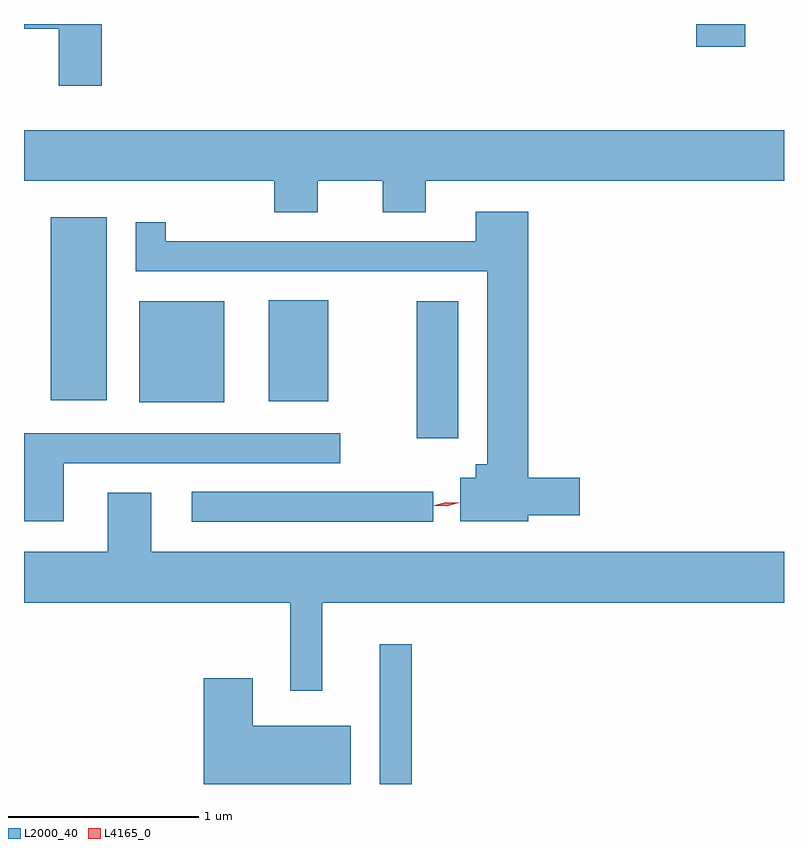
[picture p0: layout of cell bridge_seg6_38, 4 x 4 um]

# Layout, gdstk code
import gdstk
lib = gdstk.Library(unit=1e-6, precision=1e-09)
def R(c, l, rs):  # rectangles x0, y0, x1, y1
    for r in rs: c.add(gdstk.rectangle(r[:2], r[2:], *l))
def P(c, l, *ps):  # polygons
    for p in ps: c.add(gdstk.Polygon(p, *l))
L2000_40 = (2000, 40)
L4165_0 = (4165, 0)

bridge_seg6_38 = lib.new_cell('bridge_seg6_38')
R(bridge_seg6_38, L2000_40, [(1610.721,1622.342,1610.889,1623.078), (1609.733,1623.721,1611.003,1623.879), (1610.916,1624.161,1611.134,1624.884), (1609.456,1624.351,1609.904,1624.884), (1610.136,1624.356,1610.449,1624.889), (1608.991,1624.361,1609.284,1625.324), (1612.386,1626.221,1612.644,1626.342)])
P(bridge_seg6_38, L2000_40, [(1609.259,1626.342),(1608.849,1626.342),(1608.849,1626.316),(1609.031,1626.316),(1609.031,1626.016),(1609.259,1626.016)],
  [(1610.394,1625.516),(1610.736,1625.516),(1610.736,1625.351),(1610.964,1625.351),(1610.964,1625.516),(1612.849,1625.516),(1612.849,1625.784),(1608.849,1625.784),(1608.849,1625.516),(1610.166,1625.516),(1610.166,1625.351),(1610.394,1625.351)],
  [(1611.504,1623.756),(1611.774,1623.756),(1611.774,1623.954),(1611.504,1623.954),(1611.504,1625.354),(1611.226,1625.354),(1611.226,1625.199),(1609.594,1625.199),(1609.594,1625.298),(1609.436,1625.298),(1609.436,1625.041),(1611.286,1625.041),(1611.286,1624.024),(1611.226,1624.024),(1611.226,1623.954),(1611.146,1623.954),(1611.146,1623.726),(1611.504,1623.726)],
  [(1609.059,1624.031),(1610.513,1624.031),(1610.513,1624.189),(1608.849,1624.189),(1608.849,1623.726),(1609.059,1623.726)],
  [(1610.419,1623.296),(1612.849,1623.296),(1612.849,1623.564),(1609.519,1623.564),(1609.519,1623.874),(1609.291,1623.874),(1609.291,1623.564),(1608.849,1623.564),(1608.849,1623.296),(1610.251,1623.296),(1610.251,1622.833),(1610.419,1622.833)],
  [(1610.569,1622.649),(1610.054,1622.649),(1610.054,1622.899),(1609.796,1622.899),(1609.796,1622.342),(1610.569,1622.342)])
P(bridge_seg6_38, L4165_0, [(1611.074,1623.804),(1611.008,1623.807),(1611.008,1623.807),(1611.008,1623.808),(1611.072,1623.824),(1611.138,1623.822),(1611.139,1623.822),(1611.138,1623.821)])

lib.write_gds('bridge_seg6_38.gds')
